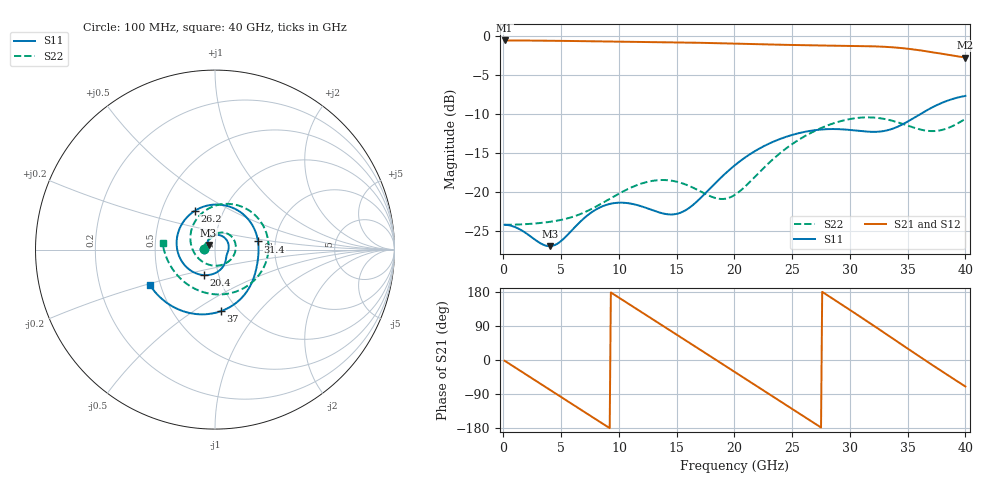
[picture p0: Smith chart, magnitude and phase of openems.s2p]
! B_s8_L1L3_bd_d200: L1→L3, back-drilled to 0.2 mm below L3, drill Ø0.2
! stackup: 8-layer 1.6 mm FR-4 (generic)
! ports: 1, 2
! openEMS 0.37.0, staircase, fine mesh (dfine 0.0175 mm), 1248885 cells
# Hz S RI R 50
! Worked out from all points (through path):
!   400 points, 100 MHz to 40 GHz, reference 50 ohm
!   highest |S21| = -0.55 dB at 100 MHz (marker M1); lowest = -2.7 dB at 40 GHz (marker M2)
!   group delay of S21, straight-line fit = 54.8 ps
!   lowest |S11| = -27.0 dB at 4 GHz (marker M3), VSWR 1.09, Z = 46.5 + j2.45 ohm
!   |S11| at or under -10 dB: start of sweep to 36.11 GHz
!   |S22| runs from -24.3 to -10.4 dB; largest |S21 - S12| = 0.0043
!   S11 on the Smith chart (normalised r, x): 100 MHz: 0.88, +0.00; 20.4 GHz: 0.85, -0.25; 26.2 GHz: 0.73, +0.33; 31.4 GHz: 1.62, +0.16; 37 GHz: 0.84, -0.65; 40 GHz: 0.44, -0.21
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1e8  -0.0613 0.00161  0.938 -0.0321  0.938 -0.0321  -0.0613 0.00161
1.9e9  -0.049 0.0238  0.7464 -0.5671  0.7464 -0.5672  -0.0547 0.0288
4e9  -0.0361 0.0263  0.1891 -0.9154  0.1891 -0.9153  -0.0379 0.0516
6.8e9  -0.0379 0.0536  -0.6342 -0.6791  -0.6341 -0.679  -0.0152 0.0709
8.4e9  -0.00848 0.0791  -0.8906 -0.251  -0.8906 -0.251  0.000227 0.0832
9.9e9  0.0368 0.0766  -0.8961 0.2151  -0.8961 0.2151  0.0233 0.0935
1.18e10  0.0741 0.0332  -0.5833 0.708  -0.5834 0.7079  0.0661 0.0903
1.34e10  0.0737 -0.00605  -0.1317 0.9049  -0.1321 0.9049  0.102 0.0607
1.51e10  0.0645 -0.0327  0.3845 0.8263  0.3842 0.8268  0.1155 0.00295
1.71e10  0.0564 -0.0721  0.8157 0.395  0.8164 0.3956  0.0739 -0.0675
1.86e10  0.0255 -0.1157  0.8994 -0.0563  0.9004 -0.0565  0.00704 -0.0899
2.01e10  -0.0452 -0.1423  0.751 -0.4872  0.7514 -0.4882  -0.0666 -0.0693
2.04e10  -0.0631 -0.142  0.6962 -0.5607  0.6965 -0.5618  -0.0798 -0.0599
2.32e10  -0.2063 -0.0176  -0.0564 -0.8816  -0.0571 -0.8816  -0.1365 0.0802
2.62e10  -0.1142 0.2151  -0.7759 -0.4032  -0.7756 -0.4029  -0.0399 0.2264
2.67e10  -0.0716 0.2366  -0.8322 -0.2642  -0.8317 -0.2641  -0.0107 0.2404
2.89e10  0.1301 0.2166  -0.7811 0.3793  -0.7811 0.3783  0.1403 0.2425
3.14e10  0.2395 0.0452  -0.2084 0.8373  -0.2108 0.8376  0.2837 0.0994
3.34e10  0.2336 -0.0892  0.3847 0.7592  0.3842 0.7627  0.273 -0.0958
3.53e10  0.1816 -0.2274  0.7538 0.3363  0.7576 0.3381  0.1166 -0.2342
3.7e10  0.0343 -0.3428  0.7781 -0.1445  0.7812 -0.1471  -0.081 -0.2317
4e10  -0.3642 -0.1948  0.2499 -0.6847  0.2475 -0.6861  -0.292 0.0365
